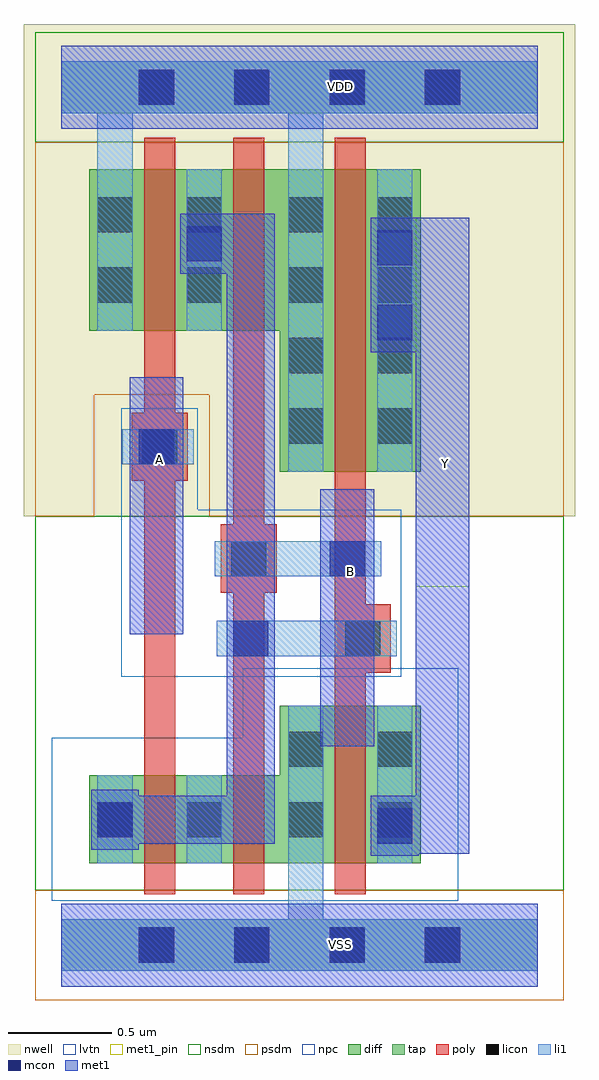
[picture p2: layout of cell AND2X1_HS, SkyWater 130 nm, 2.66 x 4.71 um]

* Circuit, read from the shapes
.subckt AND2X1_HS A B VDD VSS Y
XM1 n1 A n2 VSS sky130_fd_pr__nfet_01v8_lvt w=0.425 l=0.15
XM2 VSS B n1 VSS sky130_fd_pr__nfet_01v8_lvt w=0.425 l=0.15
XM3 Y n2 VSS VSS sky130_fd_pr__nfet_01v8_lvt w=0.76 l=0.15
XM4 n2 A VDD VDD sky130_fd_pr__pfet_01v8 w=0.78 l=0.15
XM5 VDD B n2 VDD sky130_fd_pr__pfet_01v8 w=0.78 l=0.15
XM6 Y n2 VDD VDD sky130_fd_pr__pfet_01v8 w=1.46 l=0.15
.ends

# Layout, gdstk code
from math import pi, radians
import gdstk
lib = gdstk.Library(unit=1e-6, precision=1e-09)
def R(c, l, rs):  # rectangles x0, y0, x1, y1
    for r in rs: c.add(gdstk.rectangle(r[:2], r[2:], *l))
def A(c, l, x, y, w, h, nx, ny, dx, dy):  # array of equal rectangles
    R(c, l, [(x+i*dx, y+j*dy, x+i*dx+w, y+j*dy+h) for i in range(nx) for j in range(ny)])
def P(c, l, *ps):  # polygons
    for p in ps: c.add(gdstk.Polygon(p, *l))
nwell = (64, 20)
diff = (65, 20)
tap = (65, 44)
poly = (66, 20)
licon = (66, 44)
li1 = (67, 20)
mcon = (67, 44)
met1_pin = (68, 16)
met1 = (68, 20)
nsdm = (93, 44)
psdm = (94, 20)
npc = (95, 20)
lvtn = (125, 44)

l1m1_c_cdns_750721774076 = lib.new_cell('L1M1_C_CDNS_750721774076')
R(l1m1_c_cdns_750721774076, li1, [(-0.085,-0.345,0.085,0.345)])
R(l1m1_c_cdns_750721774076, mcon, [(-0.085,-0.265,0.085,-0.095), (-0.085,0.095,0.085,0.265)])
R(l1m1_c_cdns_750721774076, met1, [(-0.115,-0.325,0.115,0.325)])

pyl1con_c_cdns_750721774 = lib.new_cell('PYL1CON_C_CDNS_750721774073')
R(pyl1con_c_cdns_750721774, poly, [(-0.135,-0.165,0.135,0.165)])
R(pyl1con_c_cdns_750721774, licon, [(-0.085,-0.085,0.085,0.085)])
R(pyl1con_c_cdns_750721774, npc, [(-0.185,-0.185,0.185,0.185)])

lilicon_c_cdns_750721774 = lib.new_cell('LILICON_C_CDNS_7507217740710')
R(lilicon_c_cdns_750721774, licon, [(-0.085,-0.085,0.085,0.085), (-0.085,-0.085,0.085,0.085)])
R(lilicon_c_cdns_750721774, li1, [(-0.085,-0.165,0.085,0.165)])

l1m1_c_cdns_750721774074 = lib.new_cell('L1M1_C_CDNS_750721774074')
R(l1m1_c_cdns_750721774074, li1, [(-0.165,-0.085,0.165,0.085)])
R(l1m1_c_cdns_750721774074, mcon, [(-0.085,-0.085,0.085,0.085)])
R(l1m1_c_cdns_750721774074, met1, [(-0.115,-0.145,0.115,0.145)])

l1m1_c_cdns_750721774072 = lib.new_cell('L1M1_C_CDNS_750721774072')
R(l1m1_c_cdns_750721774072, li1, [(-0.085,-0.165,0.085,0.165)])
R(l1m1_c_cdns_750721774072, mcon, [(-0.085,-0.085,0.085,0.085)])
R(l1m1_c_cdns_750721774072, met1, [(-0.115,-0.145,0.115,0.145)])

licondiff_c_cdns_7507217 = lib.new_cell('LICONDIFF_C_CDNS_750721774075')
R(licondiff_c_cdns_7507217, diff, [(-0.125,-0.145,0.125,0.145)])
R(licondiff_c_cdns_7507217, licon, [(-0.085,-0.085,0.085,0.085), (-0.085,-0.085,0.085,0.085)])

and2x1_hs = lib.new_cell('AND2X1_HS')
R(and2x1_hs, nwell, [(-0.18,2.07,2.48,3.995), (0.875,2.105,1.915,3.925), (-0.045,2.785,0.955,3.925), (0.595,2.785,1.235,3.925), (-0.18,3.875,2.48,4.445)])
R(and2x1_hs, diff, [(0.135,0.395,0.4,0.82), (0.4,0.395,0.55,0.82), (0.55,0.395,0.775,0.82), (0.775,0.395,0.83,0.82), (0.83,0.395,0.98,0.82), (0.98,0.395,1.055,0.82), (1.055,0.395,1.32,1.155), (1.32,0.395,1.47,1.155), (1.47,0.395,1.735,1.155), (1.055,2.285,1.32,3.745), (1.32,2.285,1.47,3.745), (1.47,2.285,1.735,3.745), (0.135,2.965,0.4,3.745), (0.4,2.965,0.55,3.745), (0.55,2.965,0.775,3.745), (0.775,2.965,0.83,3.745), (0.83,2.965,0.98,3.745), (0.98,2.965,1.055,3.745)])
R(and2x1_hs, poly, [(0.4,0.245,0.55,0.3), (0.83,0.245,0.98,0.3), (1.32,0.245,1.47,0.3), (0.4,0.3,0.55,0.395), (0.83,0.3,0.98,0.395), (1.32,0.3,1.47,0.395), (0.4,0.395,0.55,0.82), (0.83,0.395,0.98,0.82), (1.32,0.395,1.47,1.155), (0.4,0.82,0.55,0.915), (0.83,0.82,0.98,0.915), (0.4,0.915,0.55,0.97), (0.83,0.915,0.98,0.97), (1.32,1.155,1.47,1.25), (1.32,1.25,1.47,1.305), (1.32,2.135,1.47,2.19), (1.32,2.19,1.47,2.285), (1.32,2.285,1.47,3.745), (0.4,2.815,0.55,2.87), (0.83,2.815,0.98,2.87), (0.4,2.87,0.55,2.965), (0.83,2.87,0.98,2.965), (0.4,2.965,0.55,3.745), (0.83,2.965,0.98,3.745), (0.4,3.745,0.55,3.84), (0.83,3.745,0.98,3.84), (1.32,3.745,1.47,3.84), (0.4,3.84,0.55,3.895), (0.83,3.84,0.98,3.895), (1.32,3.84,1.47,3.895)])
A(and2x1_hs, licon, 0.375, -0.085, 0.17, 0.17, 4, 2, 0.46, 4.14)
A(and2x1_hs, licon, 1.095, 2.42, 0.17, 0.17, 1, 4, 0, 0.34)
A(and2x1_hs, licon, 1.525, 2.42, 0.17, 0.17, 1, 4, 0, 0.34)
R(and2x1_hs, licon, [(0.175,0.52,0.345,0.69), (1.095,0.52,1.265,0.69), (1.525,0.52,1.695,0.69), (1.095,0.86,1.265,1.03), (1.525,0.86,1.695,1.03), (0.175,3.1,0.345,3.27), (0.605,3.1,0.775,3.27), (0.175,3.44,0.345,3.61), (0.605,3.44,0.775,3.61)])
R(and2x1_hs, li1, [(0.175,0.395,0.345,0.82), (1.095,0.395,1.265,1.155), (1.525,0.395,1.695,1.155), (1.095,2.285,1.265,3.745), (1.525,2.285,1.695,3.745), (0.175,2.965,0.345,3.745), (0.605,2.965,0.775,3.745)])
A(and2x1_hs, mcon, 0.375, -0.085, 0.17, 0.17, 4, 2, 0.46, 4.14)
R(and2x1_hs, met1_pin, [(1.25,0.96,1.51,2.2), (0.33,1.5,0.59,2.74), (1.71,1.73,1.97,3.51)])
R(and2x1_hs, nsdm, [(-0.125,0.265,2.425,2.07), (-0.005,0.265,0.785,0.95), (0.765,0.265,0.935,0.95), (0.915,0.265,1.875,1.285), (-0.125,3.875,2.425,4.405), (-0.125,3.93,2.425,4.35)])
R(and2x1_hs, psdm, [(-0.125,-0.265,2.425,0.265), (-0.125,-0.21,2.425,0.21), (0.915,2.155,1.875,3.875), (-0.005,2.835,0.785,3.875), (0.765,2.835,0.935,3.875)])
P(and2x1_hs, psdm, [(2.425,3.875),(-0.125,3.875),(-0.125,2.07),(0.16,2.07),(0.16,2.655),(0.715,2.655),(0.715,2.07),(2.425,2.07)])
P(and2x1_hs, npc, [(1.64,2.1),(0.66,2.1),(0.66,2.59),(0.29,2.59),(0.29,1.295),(1.64,1.295)])
R(and2x1_hs, lvtn, [(-0.045,0.215,0.955,1), (0.595,0.215,1.235,1), (0.875,0.215,1.915,1.335)])
and2x1_hs.add(gdstk.FlexPath([(0.475,2.815),(0.475,0.97)], 0.15, ends="flush", simple_path=True, layer=66, datatype=20))  # poly
and2x1_hs.add(gdstk.FlexPath([(0.905,2.815),(0.905,0.97)], 0.15, ends="flush", simple_path=True, layer=66, datatype=20))  # poly
and2x1_hs.add(gdstk.FlexPath([(1.395,2.135),(1.395,1.305)], 0.15, ends="flush", simple_path=True, layer=66, datatype=20))  # poly
and2x1_hs.add(gdstk.FlexPath([(0.295,2.405),(0.64,2.405)], 0.17, ends="flush", simple_path=True, layer=67, datatype=20))  # li1
and2x1_hs.add(gdstk.FlexPath([(0.26,3.55),(0.26,4.14)], 0.17, ends=(0, 0.125), simple_path=True, layer=67, datatype=20))  # li1
and2x1_hs.add(gdstk.FlexPath([(1.38,1.865),(0.96,1.865)], 0.17, ends="flush", simple_path=True, layer=67, datatype=20))  # li1
and2x1_hs.add(gdstk.FlexPath([(1.18,4.14),(2.3,4.14)], 0.25, ends=(0.085, 0), simple_path=True, layer=67, datatype=20))  # li1
and2x1_hs.add(gdstk.FlexPath([(1.18,0.59),(1.18,0)], 0.17, ends=(0, 0.125), simple_path=True, layer=67, datatype=20))  # li1
and2x1_hs.add(gdstk.FlexPath([(1.18,0),(2.3,0)], 0.25, ends=(0.085, 0), simple_path=True, layer=67, datatype=20))  # li1
and2x1_hs.add(gdstk.FlexPath([(0.915,1.48),(1.455,1.48)], 0.17, ends="flush", simple_path=True, layer=67, datatype=20))  # li1
and2x1_hs.add(gdstk.FlexPath([(0.74,1.865),(0.99,1.865)], 0.17, ends="flush", simple_path=True, layer=67, datatype=20))  # li1
and2x1_hs.add(gdstk.FlexPath([(0.69,0.395),(0.69,0.82)], 0.17, ends="flush", simple_path=True, layer=67, datatype=20))  # li1
and2x1_hs.add(gdstk.FlexPath([(0.26,4.14),(1.18,4.14)], 0.25, ends=(0.085, 0.085), simple_path=True, layer=67, datatype=20))  # li1
and2x1_hs.add(gdstk.FlexPath([(1.18,3.55),(1.18,4.14)], 0.17, ends=(0, 0.125), simple_path=True, layer=67, datatype=20))  # li1
and2x1_hs.add(gdstk.FlexPath([(0,4.14),(0.26,4.14)], 0.25, ends=(0, 0.085), simple_path=True, layer=67, datatype=20))  # li1
and2x1_hs.add(gdstk.FlexPath([(0,0),(1.18,0)], 0.25, ends=(0, 0.085), simple_path=True, layer=67, datatype=20))  # li1
and2x1_hs.add(gdstk.FlexPath([(0,4.14),(2.3,4.14)], 0.4, ends="flush", simple_path=True, layer=68, datatype=16))  # met1_pin
and2x1_hs.add(gdstk.FlexPath([(0,0),(2.3,0)], 0.4, ends="flush", simple_path=True, layer=68, datatype=16))  # met1_pin
and2x1_hs.add(gdstk.FlexPath([(0,0),(2.3,0)], 0.25, ends="flush", simple_path=True, layer=65, datatype=44))  # tap
and2x1_hs.add(gdstk.FlexPath([(0,4.14),(2.3,4.14)], 0.25, ends="flush", simple_path=True, layer=65, datatype=44))  # tap
and2x1_hs.add(gdstk.FlexPath([(0.915,3.345),(0.915,1.705)], 0.23, ends="extended", simple_path=True, layer=68, datatype=20))  # met1
and2x1_hs.add(gdstk.FlexPath([(0,0),(2.3,0)], 0.4, ends="flush", simple_path=True, layer=68, datatype=20))  # met1
and2x1_hs.add(gdstk.FlexPath([(1.84,3.38),(1.495,3.38)], 0.26, ends=(0.13, 0), simple_path=True, layer=68, datatype=20))  # met1
and2x1_hs.add(gdstk.FlexPath([(0.915,0.605),(0.26,0.605)], 0.23, ends=(0.115, 0), simple_path=True, layer=68, datatype=20))  # met1
and2x1_hs.add(gdstk.FlexPath([(0,4.14),(2.3,4.14)], 0.4, ends="flush", simple_path=True, layer=68, datatype=20))  # met1
and2x1_hs.add(gdstk.FlexPath([(1.38,2.2),(1.38,0.96)], 0.26, ends="flush", simple_path=True, layer=68, datatype=20))  # met1
and2x1_hs.add(gdstk.FlexPath([(1.695,0.57),(1.84,0.57)], 0.26, ends=(0, 0.13), simple_path=True, layer=68, datatype=20))  # met1
and2x1_hs.add(gdstk.FlexPath([(0.69,3.415),(0.915,3.415)], 0.23, ends="extended", simple_path=True, layer=68, datatype=20))  # met1
and2x1_hs.add(gdstk.FlexPath([(0.46,2.74),(0.46,1.5)], 0.26, ends="flush", simple_path=True, layer=68, datatype=20))  # met1
and2x1_hs.add(gdstk.FlexPath([(0.69,3.385),(0.725,3.385)], 0.29, ends=(0, 0.115), simple_path=True, layer=68, datatype=20))  # met1
and2x1_hs.add(gdstk.FlexPath([(1.84,0.57),(1.84,3.38)], 0.26, ends="extended", simple_path=True, layer=68, datatype=20))  # met1
and2x1_hs.add(gdstk.FlexPath([(0.725,3.385),(0.725,3.305)], 0.23, ends=(0.145, 0), simple_path=True, layer=68, datatype=20))  # met1
and2x1_hs.add(gdstk.FlexPath([(0.915,1.48),(0.915,0.605)], 0.23, ends=(0, 0.115), simple_path=True, layer=68, datatype=20))  # met1
and2x1_hs.add(gdstk.Reference(l1m1_c_cdns_750721774076, (1.61,3.185)))
and2x1_hs.add(gdstk.Reference(pyl1con_c_cdns_750721774, (1.455,1.48)))
and2x1_hs.add(gdstk.Reference(pyl1con_c_cdns_750721774, (0.905,1.865), rotation=pi, x_reflection=True))
and2x1_hs.add(gdstk.Reference(pyl1con_c_cdns_750721774, (0.475,2.405), rotation=pi, x_reflection=True))
and2x1_hs.add(gdstk.Reference(lilicon_c_cdns_750721774, (1.455,1.48), rotation=pi/2))
and2x1_hs.add(gdstk.Reference(l1m1_c_cdns_750721774074, (0.915,1.48), rotation=pi, x_reflection=True))
and2x1_hs.add(gdstk.Reference(l1m1_c_cdns_750721774074, (0.46,2.405)))
and2x1_hs.add(gdstk.Reference(l1m1_c_cdns_750721774074, (1.38,1.865)))
and2x1_hs.add(gdstk.Reference(l1m1_c_cdns_750721774072, (1.61,0.575)))
and2x1_hs.add(gdstk.Reference(l1m1_c_cdns_750721774072, (0.26,0.605)))
and2x1_hs.add(gdstk.Reference(l1m1_c_cdns_750721774072, (0.69,3.385)))
and2x1_hs.add(gdstk.Reference(licondiff_c_cdns_7507217, (0.69,0.605)))
and2x1_hs.add(gdstk.Label('VSS', (1.35,0.005), layer=68, texttype=5))
and2x1_hs.add(gdstk.Label('B', (1.395,1.805), layer=68, texttype=5))
and2x1_hs.add(gdstk.Label('VDD', (1.35,4.145), layer=68, texttype=5))
and2x1_hs.add(gdstk.Label('Y', (1.855,2.325), layer=68, texttype=5))
and2x1_hs.add(gdstk.Label('A', (0.475,2.345), layer=68, texttype=5))

lib.write_gds('AND2X1_HS.gds')
